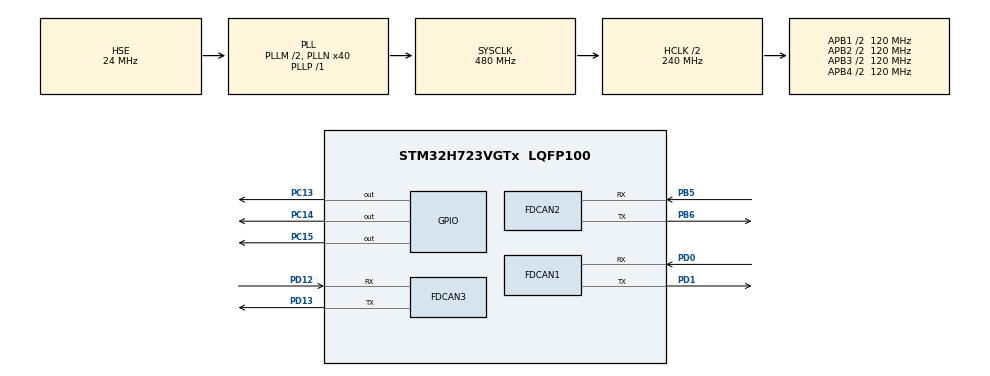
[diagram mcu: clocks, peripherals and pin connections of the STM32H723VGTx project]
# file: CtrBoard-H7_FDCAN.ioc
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CORTEX_M7.CPU_DCache=Enabled
CORTEX_M7.CPU_ICache=Enabled
FDCAN1.AutoRetransmission=ENABLE
FDCAN1.CalculateBaudRateNominal=5000000
FDCAN1.CalculateTimeBitNominal=200
FDCAN1.CalculateTimeQuantumNominal=12.5
FDCAN1.DataPrescaler=2
FDCAN1.DataSyncJumpWidth=7
FDCAN1.DataTimeSeg1=32
FDCAN1.DataTimeSeg2=7
FDCAN1.ExtFiltersNbr=4
FDCAN1.FrameFormat=FDCAN_FRAME_FD_BRS
FDCAN1.Mode=FDCAN_MODE_NORMAL
FDCAN1.NominalPrescaler=1
FDCAN1.NominalSyncJumpWidth=4
FDCAN1.NominalTimeSeg1=11
FDCAN1.NominalTimeSeg2=4
FDCAN1.ProtocolException=ENABLE
FDCAN1.RxBufferSize=FDCAN_DATA_BYTES_64
FDCAN1.RxBuffersNbr=2
FDCAN1.RxFifo0ElmtSize=FDCAN_DATA_BYTES_64
FDCAN1.RxFifo0ElmtsNbr=8
FDCAN1.RxFifo1ElmtSize=FDCAN_DATA_BYTES_64
FDCAN1.RxFifo1ElmtsNbr=8
FDCAN1.StdFiltersNbr=4
FDCAN1.TransmitPause=DISABLE
FDCAN1.TxBuffersNbr=8
FDCAN1.TxElmtSize=FDCAN_DATA_BYTES_64
FDCAN1.TxEventsNbr=8
FDCAN1.TxFifoQueueElmtsNbr=8
FDCAN2.AutoRetransmission=ENABLE
FDCAN2.CalculateBaudRateNominal=5000000
FDCAN2.CalculateTimeBitNominal=200
FDCAN2.CalculateTimeQuantumNominal=12.5
FDCAN2.DataPrescaler=2
FDCAN2.DataSyncJumpWidth=7
FDCAN2.DataTimeSeg1=32
FDCAN2.DataTimeSeg2=7
FDCAN2.ExtFiltersNbr=4
FDCAN2.FrameFormat=FDCAN_FRAME_FD_BRS
FDCAN2.MessageRAMOffset=0x406
FDCAN2.Mode=FDCAN_MODE_NORMAL
FDCAN2.NominalPrescaler=1
FDCAN2.NominalSyncJumpWidth=4
FDCAN2.NominalTimeSeg1=11
FDCAN2.NominalTimeSeg2=4
FDCAN2.ProtocolException=ENABLE
FDCAN2.RxBufferSize=FDCAN_DATA_BYTES_64
FDCAN2.RxBuffersNbr=3
FDCAN2.RxFifo0ElmtSize=FDCAN_DATA_BYTES_64
FDCAN2.RxFifo0ElmtsNbr=8
FDCAN2.RxFifo1ElmtSize=FDCAN_DATA_BYTES_64
FDCAN2.RxFifo1ElmtsNbr=8
FDCAN2.StdFiltersNbr=4
FDCAN2.TxBuffersNbr=8
FDCAN2.TxElmtSize=FDCAN_DATA_BYTES_64
FDCAN2.TxEventsNbr=8
FDCAN2.TxFifoQueueElmtsNbr=8
FDCAN3.CalculateBaudRateNominal=1000000
FDCAN3.CalculateTimeBitNominal=1000
FDCAN3.CalculateTimeQuantumNominal=12.5
FDCAN3.DataSyncJumpWidth=2
FDCAN3.DataTimeSeg1=13
FDCAN3.DataTimeSeg2=2
FDCAN3.ExtFiltersNbr=4
FDCAN3.FrameFormat=FDCAN_FRAME_FD_BRS
FDCAN3.MessageRAMOffset=0x812
FDCAN3.Mode=FDCAN_MODE_INTERNAL_LOOPBACK
FDCAN3.NominalPrescaler=1
FDCAN3.NominalSyncJumpWidth=20
FDCAN3.NominalTimeSeg1=59
FDCAN3.NominalTimeSeg2=20
FDCAN3.RxBuffersNbr=2
FDCAN3.RxFifo0ElmtsNbr=8
FDCAN3.RxFifo1ElmtsNbr=8
FDCAN3.StdFiltersNbr=4
FDCAN3.TxBuffersNbr=8
FDCAN3.TxEventsNbr=8
FDCAN3.TxFifoQueueElmtsNbr=8
Mcu.Family=STM32H7
Mcu.Name=STM32H723VGTx
Mcu.Package=LQFP100
NVIC.FDCAN1_IT0_IRQn=true\:0\:0\:false\:false\:true\:true\:true\:true
NVIC.FDCAN1_IT1_IRQn=true\:0\:0\:false\:false\:true\:true\:true\:true
NVIC.FDCAN2_IT0_IRQn=true\:0\:0\:false\:false\:true\:true\:true\:true
NVIC.FDCAN2_IT1_IRQn=true\:0\:0\:false\:false\:true\:true\:true\:true
NVIC.FDCAN3_IT0_IRQn=true\:0\:0\:false\:false\:true\:true\:true\:true
NVIC.FDCAN3_IT1_IRQn=true\:0\:0\:false\:false\:true\:true\:true\:true
NVIC.PriorityGroup=NVIC_PRIORITYGROUP_4
PA13(JTMS/SWDIO).Mode=Serial_Wire
PA13(JTMS/SWDIO).Signal=DEBUG_JTMS-SWDIO
PA14(JTCK/SWCLK).Mode=Serial_Wire
PA14(JTCK/SWCLK).Signal=DEBUG_JTCK-SWCLK
PB5.Mode=FDCAN_Activate
PB5.Signal=FDCAN2_RX
PB6.Mode=FDCAN_Activate
PB6.Signal=FDCAN2_TX
PC13.GPIO_PuPd=GPIO_PULLUP
PC13.GPIO_Speed=GPIO_SPEED_FREQ_LOW
PC13.PinState=GPIO_PIN_SET
PC13.Signal=GPIO_Output
PC14-OSC32_IN.GPIO_PuPd=GPIO_PULLUP
PC14-OSC32_IN.PinState=GPIO_PIN_SET
PC14-OSC32_IN.Signal=GPIO_Output
PC15-OSC32_OUT.GPIO_PuPd=GPIO_PULLUP
PC15-OSC32_OUT.PinState=GPIO_PIN_SET
PC15-OSC32_OUT.Signal=GPIO_Output
PD0.Mode=FDCAN_Activate
PD0.Signal=FDCAN1_RX
PD1.Mode=FDCAN_Activate
PD1.Signal=FDCAN1_TX
PD12.Mode=FDCAN_Activate
PD12.Signal=FDCAN3_RX
PD13.Mode=FDCAN_Activate
PD13.Signal=FDCAN3_TX
PH0-OSC_IN.Mode=HSE-External-Oscillator
PH0-OSC_IN.Signal=RCC_OSC_IN
PH1-OSC_OUT.Mode=HSE-External-Oscillator
PH1-OSC_OUT.Signal=RCC_OSC_OUT
ProjectManager.HeapSize=0x200
ProjectManager.StackSize=0x400
ProjectManager.TargetToolchain=MDK-ARM V5.32
RCC.ADCFreq_Value=48375000
RCC.APB1Freq_Value=120000000
RCC.APB2Freq_Value=120000000
RCC.APB3Freq_Value=120000000
RCC.APB4Freq_Value=120000000
RCC.CortexFreq_Value=480000000
RCC.D1PPRE=RCC_APB3_DIV2
RCC.D2PPRE1=RCC_APB1_DIV2
RCC.D2PPRE2=RCC_APB2_DIV2
RCC.D3PPRE=RCC_APB4_DIV2
RCC.DIVM1=2
RCC.DIVN1=40
RCC.DIVP1=1
RCC.DIVQ1=6
RCC.HCLKFreq_Value=240000000
RCC.HPRE=RCC_HCLK_DIV2
RCC.HSE_VALUE=24000000
RCC.PLLFRACN=0
RCC.PLLSourceVirtual=RCC_PLLSOURCE_HSE
RCC.SYSCLKFreq_VALUE=480000000
RCC.SYSCLKSource=RCC_SYSCLKSOURCE_PLLCLK
RCC.USBFreq_Value=80000000
board=custom

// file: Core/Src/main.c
/* USER CODE BEGIN Header */
/**
  ******************************************************************************
  * @file           : main.c
  * @brief          : Main program body
  ******************************************************************************
  * @attention
  *
  * Copyright (c) 2024 STMicroelectronics.
  * All rights reserved.
  *
  * This software is licensed under terms that can be found in the LICENSE file
  * in the root directory of this software component.
  * If no LICENSE file comes with this software, it is provided AS-IS.
  *
  ******************************************************************************
  */
/* USER CODE END Header */
#include "main.h"
#include "fdcan.h"
#include "gpio.h"

/* USER CODE BEGIN Includes */
#include "bsp_fdcan.h"
#include "stdlib.h"
#include "string.h"
#include "stdint.h"
/* USER CODE END Includes */

void SystemClock_Config(void);

/* USER CODE BEGIN 0 */
uint8_t tx_data[64] = {1,1,1,1,1,1,1,1};
uint8_t tx_data2[64] = {2,2,2,2,2,2,2,2};
uint8_t tx_data3[64] = {3,3,3,3,3,3,3,3};
/* USER CODE END 0 */

int main(void)
{

  /* Enable the CPU Cache */

  /* Enable I-Cache---------------------------------------------------------*/
  SCB_EnableICache();

  /* Enable D-Cache---------------------------------------------------------*/
  SCB_EnableDCache();

  /* MCU Configuration--------------------------------------------------------*/

  /* Reset of all peripherals, Initializes the Flash interface and the Systick. */
  HAL_Init();

  /* Configure the system clock */
  SystemClock_Config();

  /* Initialize all configured peripherals */
  MX_GPIO_Init();
  MX_FDCAN1_Init();
  MX_FDCAN2_Init();
  MX_FDCAN3_Init();
  /* USER CODE BEGIN 2 */
	bsp_can_init();
  memset(tx_data,1,sizeof(tx_data));
  memset(tx_data2,2,sizeof(tx_data2));
  memset(tx_data3,3,sizeof(tx_data3));
  /* USER CODE END 2 */

  /* Infinite loop */
  /* USER CODE BEGIN WHILE */
  while (1)
  {
		fdcanx_send_data(&hfdcan1, 0x520, tx_data,64);
		HAL_Delay(100);

		fdcanx_send_data(&hfdcan2, 0x521, tx_data2, 64);
		HAL_Delay(100);

		fdcanx_send_data(&hfdcan3, 0x522, tx_data3, 64);
		HAL_Delay(100);
    /* USER CODE END WHILE */

  }
}

void SystemClock_Config(void)
{
  RCC_OscInitTypeDef RCC_OscInitStruct = {0};
  RCC_ClkInitTypeDef RCC_ClkInitStruct = {0};

  /** Supply configuration update enable
  */
  HAL_PWREx_ConfigSupply(PWR_LDO_SUPPLY);

  /** Configure the main internal regulator output voltage
  */
  __HAL_PWR_VOLTAGESCALING_CONFIG(PWR_REGULATOR_VOLTAGE_SCALE0);

  while(!__HAL_PWR_GET_FLAG(PWR_FLAG_VOSRDY)) {}

  /** Initializes the RCC Oscillators according to the specified parameters
  * in the RCC_OscInitTypeDef structure.
  */
  RCC_OscInitStruct.OscillatorType = RCC_OSCILLATORTYPE_HSE;
  RCC_OscInitStruct.HSEState = RCC_HSE_ON;
  RCC_OscInitStruct.PLL.PLLState = RCC_PLL_ON;
  RCC_OscInitStruct.PLL.PLLSource = RCC_PLLSOURCE_HSE;
  RCC_OscInitStruct.PLL.PLLM = 2;
  RCC_OscInitStruct.PLL.PLLN = 40;
  RCC_OscInitStruct.PLL.PLLP = 1;
  RCC_OscInitStruct.PLL.PLLQ = 6;
  RCC_OscInitStruct.PLL.PLLR = 2;
  RCC_OscInitStruct.PLL.PLLRGE = RCC_PLL1VCIRANGE_3;
  RCC_OscInitStruct.PLL.PLLVCOSEL = RCC_PLL1VCOWIDE;
  RCC_OscInitStruct.PLL.PLLFRACN = 0;
  if (HAL_RCC_OscConfig(&RCC_OscInitStruct) != HAL_OK)
  {
    Error_Handler();
  }

  /** Initializes the CPU, AHB and APB buses clocks
  */
  RCC_ClkInitStruct.ClockType = RCC_CLOCKTYPE_HCLK|RCC_CLOCKTYPE_SYSCLK
                              |RCC_CLOCKTYPE_PCLK1|RCC_CLOCKTYPE_PCLK2
                              |RCC_CLOCKTYPE_D3PCLK1|RCC_CLOCKTYPE_D1PCLK1;
  RCC_ClkInitStruct.SYSCLKSource = RCC_SYSCLKSOURCE_PLLCLK;
  RCC_ClkInitStruct.SYSCLKDivider = RCC_SYSCLK_DIV1;
  RCC_ClkInitStruct.AHBCLKDivider = RCC_HCLK_DIV2;
  RCC_ClkInitStruct.APB3CLKDivider = RCC_APB3_DIV2;
  RCC_ClkInitStruct.APB1CLKDivider = RCC_APB1_DIV2;
  RCC_ClkInitStruct.APB2CLKDivider = RCC_APB2_DIV2;
  RCC_ClkInitStruct.APB4CLKDivider = RCC_APB4_DIV2;

  if (HAL_RCC_ClockConfig(&RCC_ClkInitStruct, FLASH_LATENCY_3) != HAL_OK)
  {
    Error_Handler();
  }
}

void Error_Handler(void)
{
  __disable_irq();
  while (1)
  {
  }
}
